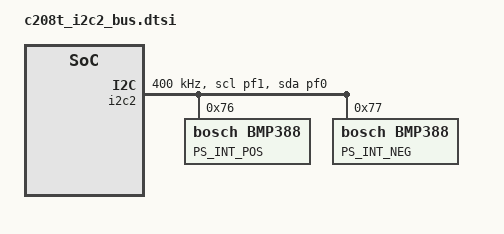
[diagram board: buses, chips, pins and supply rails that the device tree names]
/*
 * Copyright (c) 2024 Acme CPU
 *
 * C208T I2C2 bus has
 *		- BMP388
 *		- BMP388
 *      - S202-cap 
 */


&i2c2 {
	status = "okay";
	pinctrl-0 = <&i2c2_scl_pf1 &i2c2_sda_pf0>;
	pinctrl-names = "default";
	clock-frequency = <I2C_BITRATE_FAST>;

	p121_ps: bmp388@76 {
		compatible = "bosch,bmp388";
    	reg = <0x76>;
    	label = "PS_INT_POS";
    	odr = "25";			/* data rate = 25Hz */
    	osr-press = <1>;	/* pressure oversampling = No */
    	osr-temp = <1>;		/* temperature oversampling = No */
    	iir-filter = <0>;	/* iir filter = default val */
	};

	p122_ps: bmp388@77 {
    	compatible = "bosch,bmp388";
    	reg = <0x77>;
    	label = "PS_INT_NEG";
    	odr = "25";			/* data rate = 25Hz */
    	osr-press = <1>;	/* pressure oversampling = No */
    	osr-temp = <1>;		/* temperature oversampling = No */
    	iir-filter = <0>;	/* iir filter = default val */
	};
	
	/*
	s202cap: s202cap@41 {
    	compatible = "ST,AN2606";
    	reg = <0x41>;
    	label = "CAPNOGRAPHY";
	};
	*/
};
